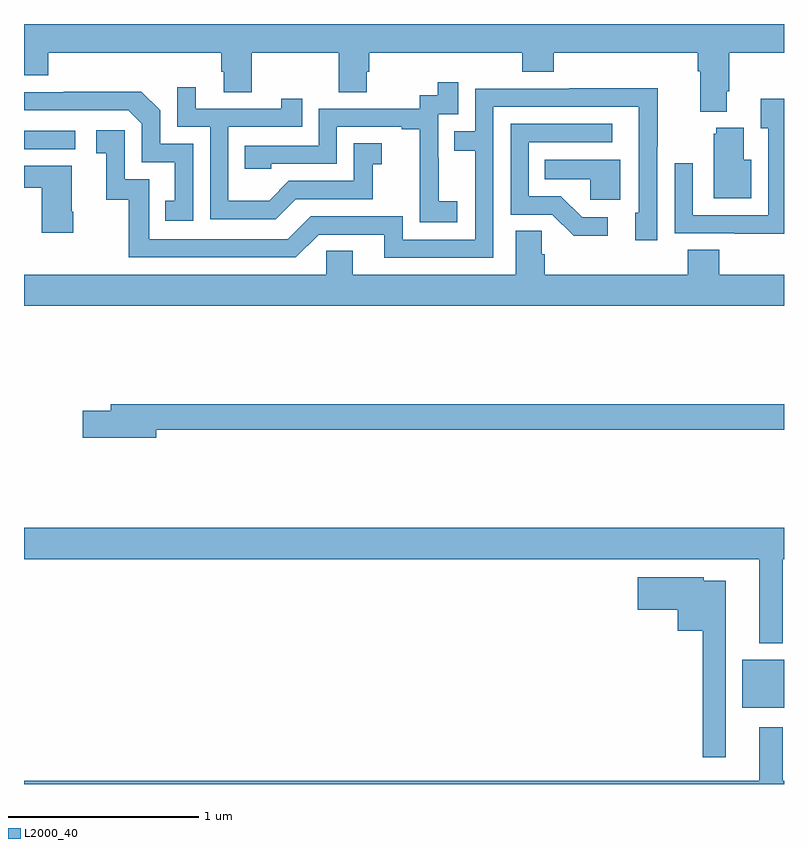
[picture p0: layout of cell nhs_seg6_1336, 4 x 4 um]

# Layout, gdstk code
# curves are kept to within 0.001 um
import gdstk
lib = gdstk.Library(unit=1e-6, precision=1e-09)
def R(c, l, rs):  # rectangles x0, y0, x1, y1
    for r in rs: c.add(gdstk.rectangle(r[:2], r[2:], *l))
def P(c, l, *ps):  # polygons
    for p in ps: c.add(gdstk.Polygon(p, *l))
L2000_40 = (2000, 40)

nhs_seg6_1336 = lib.new_cell('nhs_seg6_1336')
R(nhs_seg6_1336, L2000_40, [(196.781,931.901,197,932.155), (193,934.842,193.27,934.938)])
P(nhs_seg6_1336, L2000_40, [(193,935.231),(193.127,935.231),(193.127,935.348),(194.039,935.348),(194.039,935.25),(194.051,935.25),(194.051,935.14),(194.199,935.14),(194.199,935.348),(194.656,935.348),(194.656,935.14),(194.803,935.14),(194.803,935.25),(194.816,935.25),(194.816,935.348),(195.623,935.348),(195.623,935.249),(195.788,935.249),(195.788,935.348),(196.547,935.348),(196.547,935.252),(196.559,935.252),(196.559,935.039),(196.699,935.039),(196.699,935.146),(196.712,935.146),(196.712,935.348),(197,935.348),(197,935.5),(193,935.5)],
  [(195.28,934.567),(195.182,934.567),(195.182,934.796),(195.18,934.796),(195.18,935.025),(195.285,935.025),(195.285,935.194),(195.177,935.194),(195.177,935.124),(195.084,935.124),(195.084,935.055),(194.55,935.055),(194.55,934.86),(194.161,934.86),(194.161,934.737),(194.301,934.737),(194.301,934.764),(194.646,934.764),(194.646,934.959),(194.987,934.959),(194.987,934.947),(195.083,934.947),(195.083,934.663),(195.082,934.663),(195.082,934.457),(195.28,934.457)],
  [(194.431,934.578),(194.835,934.578),(194.835,934.763),(194.884,934.763),(194.884,934.873),(194.736,934.873),(194.736,934.674),(194.394,934.674),(194.29,934.57),(194.076,934.57),(194.076,934.959),(194.465,934.959),(194.465,935.107),(194.354,935.107),(194.354,935.055),(193.903,935.055),(193.903,935.167),(193.806,935.167),(193.806,934.959),(193.98,934.959),(193.98,934.473),(194.326,934.473)],
  [(195.471,935.064),(196.235,935.064),(196.236,934.506),(196.217,934.506),(196.217,934.362),(196.332,934.362),(196.332,934.855),(196.335,934.855),(196.335,935.162),(195.871,935.162),(195.871,935.16),(195.375,935.16),(195.375,934.935),(195.265,934.935),(195.265,934.834),(195.375,934.834),(195.375,934.365),(194.994,934.365),(194.994,934.488),(194.508,934.488),(194.388,934.368),(193.659,934.368),(193.659,934.683),(193.53,934.683),(193.53,934.942),(193.38,934.942),(193.38,934.821),(193.433,934.821),(193.433,934.575),(193.551,934.575),(193.551,934.272),(194.43,934.272),(194.55,934.392),(194.897,934.392),(194.897,934.269),(195.471,934.269)],
  [(193.89,934.869),(193.716,934.869),(193.716,935.046),(193.618,935.144),(193.21,935.144),(193.21,935.142),(193,935.142),(193,935.046),(193.548,935.046),(193.62,934.974),(193.62,934.773),(193.793,934.773),(193.793,934.569),(193.744,934.569),(193.744,934.464),(193.89,934.464)],
  [(197,935.107),(196.877,935.107),(196.877,934.951),(196.917,934.951),(196.917,934.494),(196.521,934.494),(196.521,934.768),(196.425,934.768),(196.425,934.398),(196.741,934.398),(196.741,934.397),(197,934.397)],
  [(196.072,934.482),(195.937,934.482),(195.826,934.593),(195.657,934.593),(195.657,934.878),(196.096,934.878),(196.096,934.974),(195.561,934.974),(195.561,934.497),(195.78,934.497),(195.893,934.385),(196.072,934.385)],
  [(196.828,934.786),(196.789,934.786),(196.789,934.954),(196.643,934.954),(196.643,934.923),(196.631,934.923),(196.631,934.583),(196.828,934.583)],
  [(196.138,934.786),(195.742,934.786),(195.742,934.682),(195.981,934.682),(195.981,934.574),(196.138,934.574)],
  [(193.26,934.513),(193.252,934.513),(193.252,934.753),(193,934.753),(193,934.639),(193.094,934.639),(193.094,934.401),(193.26,934.401)],
  [(197,934.18),(196.658,934.18),(196.658,934.313),(196.493,934.313),(196.493,934.18),(195.74,934.18),(195.74,934.289),(195.726,934.289),(195.726,934.412),(195.587,934.412),(195.587,934.18),(194.731,934.18),(194.731,934.307),(194.592,934.307),(194.592,934.18),(193,934.18),(193,934.016),(197,934.016)],
  [(193.696,933.364),(197,933.364),(197,933.5),(193.457,933.5),(193.457,933.464),(193.308,933.464),(193.308,933.322),(193.696,933.322)],
  [(196.993,932.684),(197,932.684),(197,932.848),(193,932.848),(193,932.684),(196.871,932.684),(196.871,932.24),(196.993,932.24)],
  [(196.693,932.569),(196.578,932.569),(196.578,932.587),(196.23,932.587),(196.23,932.417),(196.442,932.417),(196.442,932.306),(196.572,932.306),(196.572,931.641),(196.693,931.641)],
  [(197,931.516),(196.993,931.516),(196.993,931.798),(196.871,931.798),(196.871,931.516),(193,931.516),(193,931.5),(197,931.5)])

lib.write_gds('nhs_seg6_1336.gds')
